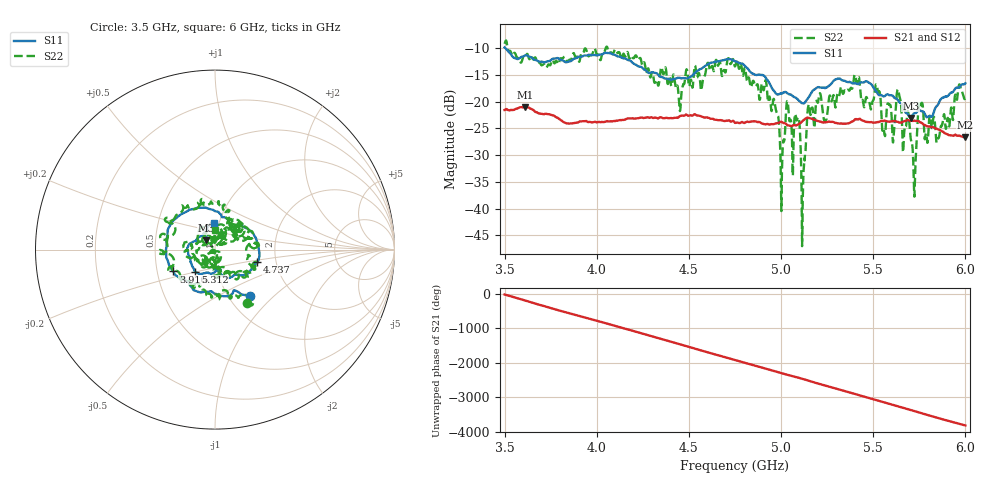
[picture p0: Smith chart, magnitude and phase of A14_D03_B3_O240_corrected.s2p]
! Created with skrf 1.9.0 (http://scikit-rf.org).
# Hz S RI R 50.0
!freq ReS11 ImS11 ReS21 ImS21 ReS12 ImS12 ReS22 ImS22
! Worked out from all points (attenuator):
!   1601 points, 3.5 GHz to 6 GHz, reference 50 ohm
!   highest |S21| = -21.01 dB at 3.611 GHz (marker M1); lowest = -26.7 dB at 6 GHz (marker M2)
!   lowest |S11| = -23.0 dB at 5.703 GHz (marker M3), VSWR 1.15, Z = 45.2 + j4.67 ohm
!   |S11| at or under -10 dB: 3.505 GHz to end of sweep
!   |S22| runs from -47.0 to -8.6 dB; largest |S21 - S12| = 0.001
!   S11 on the Smith chart (normalised r, x): 3.5 GHz: 1.25, -0.72; 3.916 GHz: 0.61, -0.16; 4.737 GHz: 1.59, -0.23; 5.312 GHz: 0.78, -0.20; 6 GHz: 0.94, +0.29
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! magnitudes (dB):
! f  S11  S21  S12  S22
! 3.5 GHz  -9.9  -21.6  -21.6  -9.2
! 3.611 GHz  -11.4  -21.0  -21.0  -11.8
! 3.916 GHz  -11.6  -23.7  -23.7  -11.1
! 3.917 GHz  -11.6  -23.7  -23.7  -10.9
! 4.334 GHz  -15.0  -23.1  -23.0  -17.0
! 4.737 GHz  -12.2  -23.6  -23.7  -12.1
! 4.75 GHz  -12.5  -24.0  -23.9  -13.4
! 4.967 GHz  -18.3  -24.1  -24.1  -20.6
! 5.006 GHz  -18.4  -23.8  -23.8  -30.9
! 5.034 GHz  -18.4  -24.4  -24.3  -19.9
! 5.088 GHz  -19.5  -24.4  -24.3  -23.3
! 5.119 GHz  -20.3  -23.5  -23.5  -36.2
! 5.145 GHz  -19.4  -23.0  -23.0  -21.2
! 5.167 GHz  -18.2  -23.2  -23.2  -21.2
! 5.312 GHz  -15.7  -24.1  -24.1  -18.9
! 5.558 GHz  -19.0  -23.6  -23.5  -25.2
! 5.584 GHz  -18.7  -23.7  -23.7  -20.5
! 5.703 GHz  -23.0  -23.6  -23.5  -26.9
! 5.723 GHz  -22.2  -23.6  -23.5  -37.8
! 5.756 GHz  -21.7  -23.9  -23.8  -21.0
! 5.85 GHz  -20.6  -25.2  -25.1  -26.8
! 6 GHz  -16.6  -26.7  -26.6  -19.4
